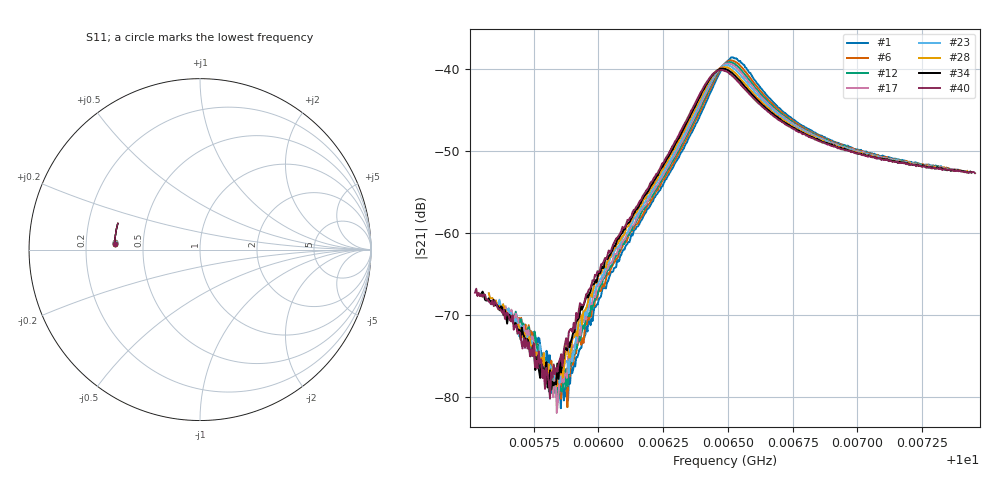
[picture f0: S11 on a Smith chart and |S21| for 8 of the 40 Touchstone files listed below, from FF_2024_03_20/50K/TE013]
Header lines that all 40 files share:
#  HZ  S  RI  R  50.00
! Rohde & Schwarz Vector Network Analyzer
! Rohde-Schwarz,ZNB20-2Port,1311601062101988,3.16
! freq[Hz]  re:S11  im:S11  re:S21  im:S21  re:S12  im:S12  re:S22  im:S22
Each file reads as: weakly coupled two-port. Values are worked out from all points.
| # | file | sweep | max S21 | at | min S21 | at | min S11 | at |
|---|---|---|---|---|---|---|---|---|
| 1 | 120_3_48.2_50.1747971_29144.189_324.1949737071991_.s2p | 10.00574 GHz to 10.00732 GHz | -38.59 dB | 10.00652 GHz | -81.4 dB | 10.00586 GHz | -6.0 dB | 10.00575 GHz |
| 2 | 121_3_48.2005_50.175106_29995.084_332.73345589637756_.s2p | 10.00574 GHz to 10.00732 GHz | -38.80 dB | 10.00652 GHz | -80.5 dB | 10.00584 GHz | -6.0 dB | 10.00574 GHz |
| 3 | 122_3_48.2011_50.172287_30255.104_335.22965240478516_.s2p | 10.00571 GHz to 10.00734 GHz | -38.86 dB | 10.00652 GHz | -80.4 dB | 10.00583 GHz | -6.0 dB | 10.00574 GHz |
| 4 | 123_3_48.2028_50.1702385_30475.432_337.63754057884216_.s2p | 10.0057 GHz to 10.00735 GHz | -38.87 dB | 10.00651 GHz | -80.9 dB | 10.00587 GHz | -6.0 dB | 10.00571 GHz |
| 5 | 124_3_48.2033_50.1731262_30745.305_340.0547432899475_.s2p | 10.0057 GHz to 10.00735 GHz | -38.92 dB | 10.00651 GHz | -80.0 dB | 10.00586 GHz | -6.0 dB | 10.00573 GHz |
| 6 | 125_3_48.1985_50.1724434_30985.965_342.4725513458252_.s2p | 10.00569 GHz to 10.00735 GHz | -38.94 dB | 10.00651 GHz | -81.3 dB | 10.00588 GHz | -6.0 dB | 10.00571 GHz |
| 7 | 126_3_48.1975_50.171608_31235.734_344.9526309967041_.s2p | 10.00569 GHz to 10.00736 GHz | -39.00 dB | 10.00651 GHz | -80.6 dB | 10.00585 GHz | -6.0 dB | 10.00571 GHz |
| 8 | 127_3_48.2018_50.1690941_31466.092_347.3777139186859_.s2p | 10.00568 GHz to 10.00736 GHz | -39.03 dB | 10.00651 GHz | -81.1 dB | 10.00584 GHz | -6.0 dB | 10.0057 GHz |
| 9 | 128_3_48.2013_50.1709938_31726.369_349.7996754646301_.s2p | 10.00568 GHz to 10.00736 GHz | -39.08 dB | 10.00651 GHz | -82.7 dB | 10.00585 GHz | -6.0 dB | 10.00569 GHz |
| 10 | 129_3_48.1983_50.1709938_31956.779_352.2813446521759_.s2p | 10.00567 GHz to 10.00737 GHz | -39.11 dB | 10.00651 GHz | -80.3 dB | 10.00585 GHz | -6.0 dB | 10.00567 GHz |
| 11 | 130_3_48.1994_50.1705399_32177.035_354.6773929595947_.s2p | 10.00567 GHz to 10.00737 GHz | -39.15 dB | 10.00651 GHz | -81.0 dB | 10.00586 GHz | -6.0 dB | 10.00571 GHz |
| 12 | 131_3_48.1968_50.1687126_32448.148_357.08286023139954_.s2p | 10.00566 GHz to 10.00737 GHz | -39.17 dB | 10.00651 GHz | -80.2 dB | 10.00585 GHz | -6.0 dB | 10.00572 GHz |
| 13 | 132_3_48.201_50.1678352_32658.314_359.50867438316345_.s2p | 10.00566 GHz to 10.00737 GHz | -39.21 dB | 10.00651 GHz | -81.4 dB | 10.00583 GHz | -6.0 dB | 10.00566 GHz |
| 14 | 133_3_48.2_50.1705017_32919.07_361.92194986343384_.s2p | 10.00565 GHz to 10.00738 GHz | -39.25 dB | 10.0065 GHz | -80.2 dB | 10.00584 GHz | -6.0 dB | 10.00565 GHz |
| 15 | 134_3_48.1994_50.1678352_33170.543_364.3324489593506_.s2p | 10.00565 GHz to 10.00738 GHz | -39.28 dB | 10.0065 GHz | -80.1 dB | 10.00582 GHz | -6.0 dB | 10.00566 GHz |
| 16 | 135_3_48.2047_50.1698151_33421.75_366.7325596809387_.s2p | 10.00565 GHz to 10.00738 GHz | -39.32 dB | 10.0065 GHz | -80.5 dB | 10.00586 GHz | -6.0 dB | 10.00566 GHz |
| 17 | 136_3_48.1999_50.1682167_33641.938_369.1683773994446_.s2p | 10.00564 GHz to 10.00739 GHz | -39.35 dB | 10.0065 GHz | -82.0 dB | 10.00584 GHz | -6.0 dB | 10.00564 GHz |
| 18 | 137_3_48.1967_50.1666985_33892.434_371.60144543647766_.s2p | 10.00563 GHz to 10.00739 GHz | -39.38 dB | 10.0065 GHz | -80.2 dB | 10.00583 GHz | -6.0 dB | 10.00564 GHz |
| 19 | 138_3_48.1988_50.1676826_34134.0_374.05757784843445_.s2p | 10.00563 GHz to 10.00739 GHz | -39.42 dB | 10.0065 GHz | -80.2 dB | 10.00583 GHz | -6.0 dB | 10.00563 GHz |
| 20 | 139_3_48.2009_50.1675339_34384.332_376.48227429389954_.s2p | 10.00563 GHz to 10.00739 GHz | -39.45 dB | 10.00649 GHz | -80.2 dB | 10.00585 GHz | -6.0 dB | 10.00566 GHz |
| 21 | 140_3_48.1972_50.1654778_34625.293_378.9112889766693_.s2p | 10.00563 GHz to 10.00739 GHz | -39.48 dB | 10.0065 GHz | -79.6 dB | 10.00584 GHz | -6.0 dB | 10.00564 GHz |
| 22 | 141_3_48.2019_50.1666985_34865.422_381.32466864585876_.s2p | 10.00562 GHz to 10.00739 GHz | -39.50 dB | 10.00649 GHz | -79.6 dB | 10.00583 GHz | -6.0 dB | 10.00562 GHz |
| 23 | 142_3_48.2067_50.1652527_35116.84_383.7462332248688_.s2p | 10.00561 GHz to 10.0074 GHz | -39.56 dB | 10.00649 GHz | -78.3 dB | 10.00585 GHz | -6.0 dB | 10.00566 GHz |
| 24 | 143_3_48.2013_50.164875_35918.801_391.9410231113434_.s2p | 10.0056 GHz to 10.00741 GHz | -39.64 dB | 10.00649 GHz | -79.4 dB | 10.00585 GHz | -6.0 dB | 10.00561 GHz |
| 25 | 144_3_48.1998_50.1651001_36179.613_394.4970905780792_.s2p | 10.00559 GHz to 10.00742 GHz | -39.70 dB | 10.00649 GHz | -79.1 dB | 10.00583 GHz | -6.0 dB | 10.00561 GHz |
| 26 | 145_3_48.1967_50.164875_36450.41_396.91770005226135_.s2p | 10.00558 GHz to 10.00742 GHz | -39.70 dB | 10.00649 GHz | -80.8 dB | 10.00583 GHz | -6.0 dB | 10.00566 GHz |
| 27 | 146_3_48.1989_50.1635818_36691.387_399.3471121788025_.s2p | 10.00559 GHz to 10.00742 GHz | -39.75 dB | 10.00649 GHz | -79.4 dB | 10.00583 GHz | -6.0 dB | 10.0056 GHz |
| 28 | 147_3_48.2042_50.164566_36922.074_401.75930166244507_.s2p | 10.00558 GHz to 10.00742 GHz | -39.78 dB | 10.00649 GHz | -79.0 dB | 10.00581 GHz | -6.0 dB | 10.00561 GHz |
| 29 | 148_3_48.2_50.1617508_37172.32_404.22885179519653_.s2p | 10.00557 GHz to 10.00743 GHz | -39.82 dB | 10.00649 GHz | -78.3 dB | 10.00583 GHz | -6.0 dB | 10.00559 GHz |
| 30 | 149_3_48.2006_50.1619835_37413.594_406.6488251686096_.s2p | 10.00557 GHz to 10.00743 GHz | -39.84 dB | 10.00648 GHz | -80.1 dB | 10.00582 GHz | -6.0 dB | 10.00559 GHz |
| 31 | 150_3_48.199_50.1631241_37654.656_409.0813717842102_.s2p | 10.00556 GHz to 10.00743 GHz | -39.87 dB | 10.00648 GHz | -80.3 dB | 10.00581 GHz | -6.0 dB | 10.00556 GHz |
| 32 | 151_3_48.1969_50.1628952_37905.375_411.5162076950073_.s2p | 10.00556 GHz to 10.00743 GHz | -39.89 dB | 10.00648 GHz | -78.9 dB | 10.00579 GHz | -6.0 dB | 10.00557 GHz |
| 33 | 152_3_48.202_50.1611443_38145.957_413.9489076137543_.s2p | 10.00555 GHz to 10.00744 GHz | -39.94 dB | 10.00649 GHz | -79.2 dB | 10.00583 GHz | -6.0 dB | 10.00557 GHz |
| 34 | 153_3_48.2052_50.161377_38386.5_416.3715760707855_.s2p | 10.00555 GHz to 10.00744 GHz | -39.96 dB | 10.00648 GHz | -79.1 dB | 10.00582 GHz | -6.0 dB | 10.00556 GHz |
| 35 | 154_3_48.2004_50.162056_38627.988_418.7947852611542_.s2p | 10.00554 GHz to 10.00744 GHz | -39.99 dB | 10.00648 GHz | -79.3 dB | 10.00584 GHz | -6.0 dB | 10.00555 GHz |
| 36 | 155_3_48.1999_50.1589851_38878.426_421.20357489585876_.s2p | 10.00554 GHz to 10.00745 GHz | -40.02 dB | 10.00648 GHz | -78.0 dB | 10.00579 GHz | -6.0 dB | 10.00555 GHz |
| 37 | 156_3_48.2026_50.1581535_39089.02_423.61678194999695_.s2p | 10.00554 GHz to 10.00744 GHz | -40.05 dB | 10.00648 GHz | -78.3 dB | 10.00582 GHz | -6.0 dB | 10.00554 GHz |
| 38 | 157_3_48.1972_50.1592903_39360.148_426.0466148853302_.s2p | 10.00553 GHz to 10.00745 GHz | -40.09 dB | 10.00648 GHz | -78.8 dB | 10.0058 GHz | -6.0 dB | 10.00556 GHz |
| 39 | 158_3_48.1999_50.1571617_39600.715_428.47284173965454_.s2p | 10.00553 GHz to 10.00745 GHz | -40.10 dB | 10.00648 GHz | -79.5 dB | 10.00581 GHz | -6.0 dB | 10.00559 GHz |
| 40 | 159_3_48.2004_50.1568604_39861.371_430.9234867095947_.s2p | 10.00552 GHz to 10.00745 GHz | -40.14 dB | 10.00647 GHz | -80.2 dB | 10.00581 GHz | -6.0 dB | 10.00552 GHz |
